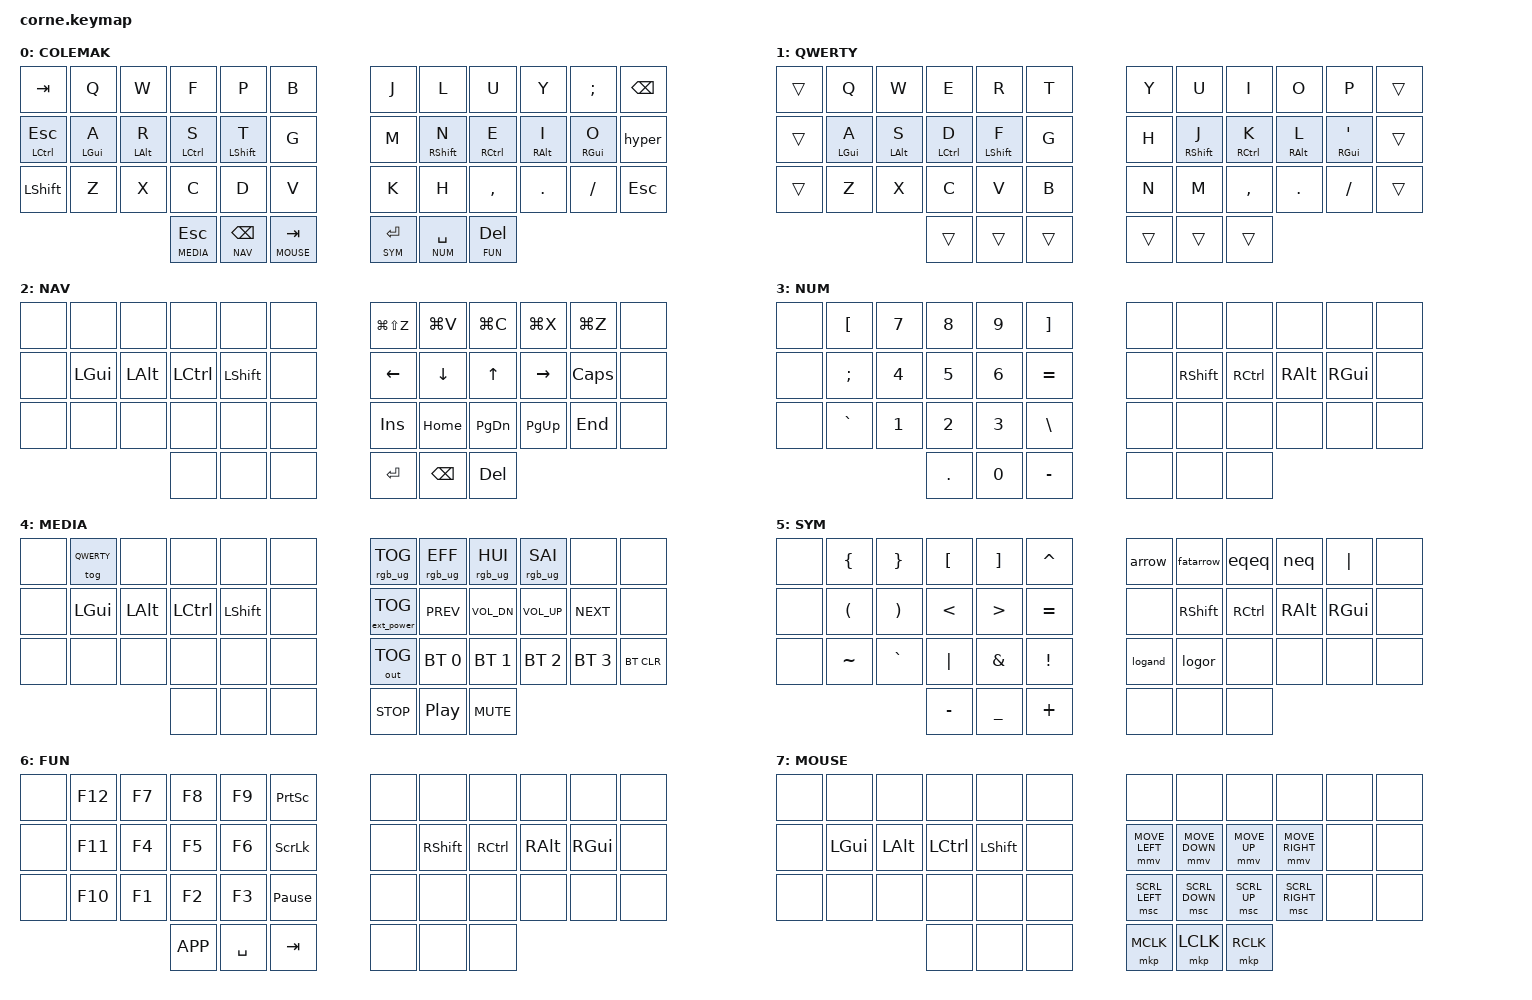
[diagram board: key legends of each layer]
/*
 * Copyright (c) 2020 The ZMK Contributors
 *
 * SPDX-License-Identifier: MIT
 */

//
//   Colemak-DH primary base + QWERTY alternate (single-key toggle).
//   Miryoku-style: GACS home-row mods, 6 thumb layer-taps, vim arrows.
//
//   Layer 0: COLEMAK — Colemak-DH + home row mods (default base)
//   Layer 1: QWERTY  — QWERTY alternate base (toggle: press the QWERTY key on the MEDIA layer)
//   Layer 2: NAV     — vim arrows, clipboard, nav (hold BSPC, left thumb)
//   Layer 3: NUM     — numpad left hand (hold SPACE, right thumb)
//   Layer 4: MEDIA   — media, BT, RGB, base toggle (hold ESC)
//   Layer 5: SYM     — symbols left hand, digraphs right hand (hold ENTER)
//   Layer 6: FUN     — function keys left hand (hold DEL)
//   Layer 7: MOUSE   — mouse move/scroll/buttons (hold TAB)
//

#include <behaviors.dtsi>
#include <dt-bindings/zmk/bt.h>
#include <dt-bindings/zmk/ext_power.h>
#include <dt-bindings/zmk/keys.h>
#include <dt-bindings/zmk/outputs.h>
#include <dt-bindings/zmk/pointing.h>
#include <dt-bindings/zmk/rgb.h>

#define COLEMAK 0
#define QWERTY  1
#define NAV     2
#define NUM     3
#define MEDIA   4
#define SYM     5
#define FUN     6
#define MOUSE   7

// Corne key positions (42 keys):
// Row 0:  0  1  2  3  4  5    6  7  8  9  10  11
// Row 1: 12 13 14 15 16 17   18 19 20 21  22  23
// Row 2: 24 25 26 27 28 29   30 31 32 33  34  35
// Thumb:          36 37 38   39 40 41

&mt {
    flavor = "tap-preferred";
    tapping-term-ms = <200>;
    quick-tap-ms = <175>;
    require-prior-idle-ms = <150>;
};

&lt {
    flavor = "balanced";
    tapping-term-ms = <200>;
    quick-tap-ms = <175>;
};

/ {
    macros {
        hyper: hyper {
            compatible = "zmk,behavior-macro";
            #binding-cells = <0>;
            bindings =
                <&macro_press &kp LGUI &kp LALT &kp LCTRL &kp LSHFT>,
                <&macro_pause_for_release>,
                <&macro_release &kp LGUI &kp LALT &kp LCTRL &kp LSHFT>;
        };

        arrow: arrow {          // ->
            compatible = "zmk,behavior-macro";
            #binding-cells = <0>;
            bindings = <&kp MINUS &kp GT>;
        };
        fatarrow: fatarrow {    // =>
            compatible = "zmk,behavior-macro";
            #binding-cells = <0>;
            bindings = <&kp EQUAL &kp GT>;
        };
        eqeq: eqeq {            // ==
            compatible = "zmk,behavior-macro";
            #binding-cells = <0>;
            bindings = <&kp EQUAL &kp EQUAL>;
        };
        neq: neq {              // !=
            compatible = "zmk,behavior-macro";
            #binding-cells = <0>;
            bindings = <&kp EXCL &kp EQUAL>;
        };
        logand: logand {        // &&
            compatible = "zmk,behavior-macro";
            #binding-cells = <0>;
            bindings = <&kp AMPS &kp AMPS>;
        };
        logor: logor {          // ||
            compatible = "zmk,behavior-macro";
            #binding-cells = <0>;
            bindings = <&kp PIPE &kp PIPE>;
        };
    };

    combos {
        compatible = "zmk,combos";

        // -- Tier 1: Essential --
        // (caps-word combo removed — use hold-Shift for capitals; CAPS LOCK lives on the NAV layer)
        combo_esc  { bindings = <&kp ESC>;  key-positions = <2 3>;  timeout-ms = <30>; require-prior-idle-ms = <150>; };
        combo_bspc { bindings = <&kp BSPC>; key-positions = <8 9>;  timeout-ms = <30>; require-prior-idle-ms = <150>; };
        combo_del  { bindings = <&kp DEL>;  key-positions = <9 10>; timeout-ms = <30>; require-prior-idle-ms = <150>; };

        // -- Tier 2: High Value --
        combo_tab   { bindings = <&kp TAB>;   key-positions = <14 15>; timeout-ms = <30>; require-prior-idle-ms = <150>; };
        combo_enter { bindings = <&kp RET>;   key-positions = <20 21>; timeout-ms = <30>; require-prior-idle-ms = <150>; };
        combo_copy  { bindings = <&kp LG(C)>; key-positions = <26 27>; timeout-ms = <30>; require-prior-idle-ms = <150>; };
        combo_paste { bindings = <&kp LG(V)>; key-positions = <27 28>; timeout-ms = <30>; require-prior-idle-ms = <150>; };
        combo_cut   { bindings = <&kp LG(X)>; key-positions = <26 28>; timeout-ms = <30>; require-prior-idle-ms = <150>; };

        // -- Tier 3: Vertical symbol combos --
        combo_minus      { bindings = <&kp MINUS>; key-positions = <19 31>; timeout-ms = <40>; require-prior-idle-ms = <100>; };
        combo_underscore { bindings = <&kp UNDER>; key-positions = <18 30>; timeout-ms = <40>; require-prior-idle-ms = <100>; };
        combo_equal      { bindings = <&kp EQUAL>; key-positions = <16 28>; timeout-ms = <40>; require-prior-idle-ms = <100>; };
        combo_grave      { bindings = <&kp GRAVE>; key-positions = <14 26>; timeout-ms = <40>; require-prior-idle-ms = <100>; };
        combo_semi       { bindings = <&kp SEMI>;  key-positions = <21 22>; timeout-ms = <30>; require-prior-idle-ms = <150>; };

        // -- New --
        // (base toggle is a deliberate PRESS on the MEDIA layer — no thumb combo,
        //  so the inner thumbs can't flip QWERTY by accident)
        combo_apostrophe  { bindings = <&kp SQT>;      key-positions = <6 7>;   timeout-ms = <30>; require-prior-idle-ms = <150>; };
    };

    keymap {
        compatible = "zmk,keymap";

        colemak_layer {
            display-name = "COLEMAK";
            bindings = <
&kp TAB        &kp Q       &kp W       &kp F        &kp P        &kp B      &kp J        &kp L        &kp U        &kp Y       &kp SEMI     &kp BSPC
&mt LCTRL ESC  &mt LGUI A  &mt LALT R  &mt LCTRL S  &mt LSHFT T  &kp G      &kp M        &mt RSHFT N  &mt RCTRL E  &mt RALT I  &mt RGUI O   &hyper
&kp LSHFT      &kp Z       &kp X       &kp C        &kp D        &kp V      &kp K        &kp H        &kp COMMA    &kp DOT     &kp FSLH     &kp ESC
                                       &lt MEDIA ESC &lt NAV BSPC  &lt MOUSE TAB  &lt SYM RET &lt NUM SPACE &lt FUN DEL
            >;
        };

        qwerty_layer {
            display-name = "QWERTY";
            bindings = <
&trans         &kp Q       &kp W       &kp E        &kp R        &kp T      &kp Y        &kp U         &kp I         &kp O       &kp P        &trans
&trans         &mt LGUI A  &mt LALT S  &mt LCTRL D  &mt LSHFT F  &kp G      &kp H        &mt RSHFT J   &mt RCTRL K   &mt RALT L  &mt RGUI SQT &trans
&trans         &kp Z       &kp X       &kp C        &kp V        &kp B      &kp N        &kp M         &kp COMMA     &kp DOT     &kp FSLH     &trans
                                       &trans        &trans        &trans     &trans       &trans        &trans
            >;
        };

        nav_layer {
            display-name = "NAV";
            bindings = <
&none          &none       &none       &none         &none         &none          &kp LG(LS(Z)) &kp LG(V)   &kp LG(C)     &kp LG(X)    &kp LG(Z)    &none
&none          &kp LGUI    &kp LALT    &kp LCTRL     &kp LSHFT     &none          &kp LEFT    &kp DOWN      &kp UP        &kp RIGHT    &kp CAPS     &none
&none          &none       &none       &none         &none         &none          &kp INS     &kp HOME      &kp PG_DN     &kp PG_UP    &kp END      &none
                                       &none         &none         &none          &kp RET     &kp BSPC      &kp DEL
            >;
        };

        num_layer {
            display-name = "NUM";
            bindings = <
&none          &kp LBKT    &kp N7      &kp N8        &kp N9        &kp RBKT       &none       &none         &none         &none        &none        &none
&none          &kp SEMI    &kp N4      &kp N5        &kp N6        &kp EQUAL      &none       &kp RSHFT     &kp RCTRL     &kp RALT     &kp RGUI     &none
&none          &kp GRAVE   &kp N1      &kp N2        &kp N3        &kp BSLH       &none       &none         &none         &none        &none        &none
                                       &kp DOT       &kp N0        &kp MINUS      &none       &none         &none
            >;
        };

        media_layer {
            display-name = "MEDIA";
            bindings = <
&none          &tog QWERTY &none       &none         &none         &none          &rgb_ug RGB_TOG   &rgb_ug RGB_EFF &rgb_ug RGB_HUI &rgb_ug RGB_SAI &none      &none
&none          &kp LGUI    &kp LALT    &kp LCTRL     &kp LSHFT     &none          &ext_power EP_TOG &kp C_PREV      &kp C_VOL_DN    &kp C_VOL_UP    &kp C_NEXT &none
&none          &none       &none       &none         &none         &none          &out OUT_TOG      &bt BT_SEL 0    &bt BT_SEL 1    &bt BT_SEL 2    &bt BT_SEL 3 &bt BT_CLR
                                       &none         &none         &none          &kp C_STOP        &kp C_PP        &kp C_MUTE
            >;
        };

        sym_layer {
            display-name = "SYM";
            bindings = <
&none          &kp LBRC    &kp RBRC    &kp LBKT      &kp RBKT      &kp CARET      &arrow      &fatarrow     &eqeq         &neq         &kp PIPE     &none
&none          &kp LPAR    &kp RPAR    &kp LT        &kp GT        &kp EQUAL      &none       &kp RSHFT     &kp RCTRL     &kp RALT     &kp RGUI     &none
&none          &kp TILDE   &kp GRAVE   &kp PIPE      &kp AMPS      &kp EXCL       &logand     &logor        &none         &none        &none        &none
                                       &kp MINUS     &kp UNDER     &kp PLUS       &none       &none         &none
            >;
        };

        fun_layer {
            display-name = "FUN";
            bindings = <
&none          &kp F12     &kp F7      &kp F8        &kp F9        &kp PSCRN      &none       &none         &none         &none        &none        &none
&none          &kp F11     &kp F4      &kp F5        &kp F6        &kp SLCK       &none       &kp RSHFT     &kp RCTRL     &kp RALT     &kp RGUI     &none
&none          &kp F10     &kp F1      &kp F2        &kp F3        &kp PAUSE_BREAK &none      &none         &none         &none        &none        &none
                                       &kp K_APP     &kp SPACE     &kp TAB        &none       &none         &none
            >;
        };

        mouse_layer {
            display-name = "MOUSE";
            bindings = <
&none          &none       &none       &none         &none         &none          &none            &none            &none          &none             &none        &none
&none          &kp LGUI    &kp LALT    &kp LCTRL     &kp LSHFT     &none          &mmv MOVE_LEFT   &mmv MOVE_DOWN   &mmv MOVE_UP   &mmv MOVE_RIGHT   &none        &none
&none          &none       &none       &none         &none         &none          &msc SCRL_LEFT   &msc SCRL_DOWN   &msc SCRL_UP   &msc SCRL_RIGHT   &none        &none
                                       &none         &none         &none          &mkp MCLK        &mkp LCLK        &mkp RCLK
            >;
        };
    };
};
